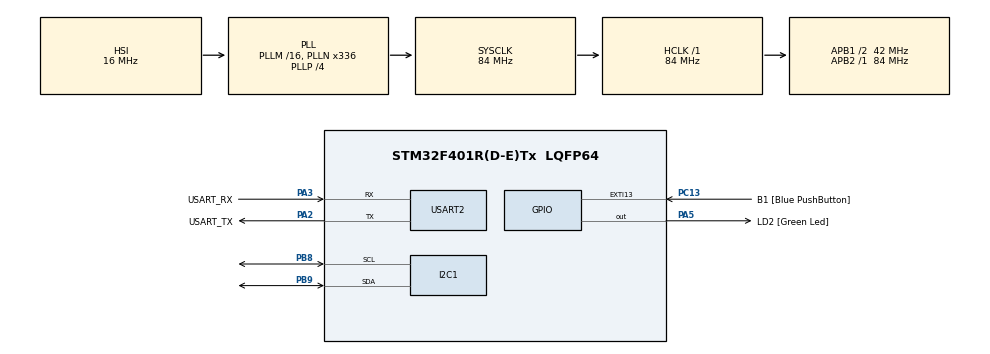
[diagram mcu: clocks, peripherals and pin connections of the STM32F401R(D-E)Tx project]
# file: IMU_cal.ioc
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Mcu.Family=STM32F4
Mcu.Name=STM32F401R(D-E)Tx
Mcu.Package=LQFP64
NVIC.PriorityGroup=NVIC_PRIORITYGROUP_0
PA13.GPIO_Label=TMS
PA13.Mode=Serial_Wire
PA13.Signal=SYS_JTMS-SWDIO
PA14.GPIO_Label=TCK
PA14.Mode=Serial_Wire
PA14.Signal=SYS_JTCK-SWCLK
PA2.GPIO_Label=USART_TX
PA2.GPIO_Mode=GPIO_MODE_AF_PP
PA2.GPIO_PuPd=GPIO_NOPULL
PA2.GPIO_Speed=GPIO_SPEED_FREQ_LOW
PA2.Mode=Asynchronous
PA2.Signal=USART2_TX
PA3.GPIO_Label=USART_RX
PA3.GPIO_Mode=GPIO_MODE_AF_PP
PA3.GPIO_PuPd=GPIO_NOPULL
PA3.GPIO_Speed=GPIO_SPEED_FREQ_LOW
PA3.Mode=Asynchronous
PA3.Signal=USART2_RX
PA5.GPIO_Label=LD2 [Green Led]
PA5.GPIO_Mode=GPIO_MODE_OUTPUT_PP
PA5.GPIO_PuPd=GPIO_NOPULL
PA5.GPIO_Speed=GPIO_SPEED_FREQ_LOW
PA5.Signal=GPIO_Output
PB3.GPIO_Label=SWO
PB3.Signal=SYS_JTDO-SWO
PB8.Mode=I2C
PB8.Signal=I2C1_SCL
PB9.Mode=I2C
PB9.Signal=I2C1_SDA
PC13-ANTI_TAMP.GPIO_Label=B1 [Blue PushButton]
PC13-ANTI_TAMP.GPIO_ModeDefaultEXTI=GPIO_MODE_IT_FALLING
PC13-ANTI_TAMP.GPIO_PuPd=GPIO_NOPULL
PC13-ANTI_TAMP.Signal=GPXTI13
PC14-OSC32_IN.Mode=LSE-External-Oscillator
PC14-OSC32_IN.Signal=RCC_OSC32_IN
PC15-OSC32_OUT.Mode=LSE-External-Oscillator
PC15-OSC32_OUT.Signal=RCC_OSC32_OUT
PH0\ -\ OSC_IN.Mode=HSE-External-Clock-Source
PH0\ -\ OSC_IN.Signal=RCC_OSC_IN
PH1\ -\ OSC_OUT.Mode=HSE-External-Clock-Source
PH1\ -\ OSC_OUT.Signal=RCC_OSC_OUT
ProjectManager.HeapSize=0x200
ProjectManager.StackSize=0x400
ProjectManager.TargetToolchain=STM32CubeIDE
RCC.48MHZClocksFreq_Value=48000000
RCC.AHBFreq_Value=84000000
RCC.APB1CLKDivider=RCC_HCLK_DIV2
RCC.APB1Freq_Value=42000000
RCC.APB1TimFreq_Value=84000000
RCC.APB2Freq_Value=84000000
RCC.APB2TimFreq_Value=84000000
RCC.CortexFreq_Value=84000000
RCC.HCLKFreq_Value=84000000
RCC.HSE_VALUE=8000000
RCC.HSI_VALUE=16000000
RCC.PLLN=336
RCC.PLLP=RCC_PLLP_DIV4
RCC.PLLQ=7
RCC.SYSCLKFreq_VALUE=84000000
RCC.SYSCLKSource=RCC_SYSCLKSOURCE_PLLCLK
RCC.VCOOutputFreq_Value=336000000
USART2.VirtualMode=VM_ASYNC
board=NUCLEO-F401RE

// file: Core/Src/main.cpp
/* USER CODE BEGIN Header */
/**
  ******************************************************************************
  * @file           : main.c
  * @brief          : Main program body
  ******************************************************************************
  * @attention
  *
  * Copyright (c) 2024 STMicroelectronics.
  * All rights reserved.
  *
  * This software is licensed under terms that can be found in the LICENSE file
  * in the root directory of this software component.
  * If no LICENSE file comes with this software, it is provided AS-IS.
  *
  ******************************************************************************
  */
/* USER CODE END Header */
#include "main.h"

/* USER CODE BEGIN Includes */
#include "MPU9250.h"
#include "UART.h"
#include <cstdio>
#include <stdio.h>
#include <string.h>
/* USER CODE END Includes */

/* USER CODE BEGIN PD */
#define MPU9250_ADDR 0x68;
#define ACCEL_XOUT_H 0;
#define GYRO_XOUT_H 0;
/* USER CODE END PD */

I2C_HandleTypeDef hi2c1;

UART_HandleTypeDef huart2;

void SystemClock_Config(void);
static void MX_GPIO_Init(void);
static void MX_USART2_UART_Init(void);
static void MX_I2C1_Init(void);

int main(void)
{

  /* USER CODE BEGIN 1 */
	MPU9250 mpu(&hi2c1); // Instantiate MPU9250 with the I2C handle
	mpu.initialize();

	// UART configuration
	UART tele(&huart2);
	uint8_t data[12];
	uint8_t buffer[64];  // Buffer for UART transmission

	uint8_t // Initialise IMU raw data variables.
	// Accelerometer
	ax_H, ax_L, // x-axis high and low bits
	ay_H, ay_L, // y-axis high and low bits
	az_H, az_L, // z-axis high and low bits
	// Gyroscope
	gx_H, gx_L, // x-axis high and low bits
	gy_H, gy_L, // y-axis high and low bits
	gz_H, gz_L; // z-axis high and low bits

	int16_t ax, ay, az;

  /* USER CODE END 1 */

  /* MCU Configuration--------------------------------------------------------*/

  /* Reset of all peripherals, Initializes the Flash interface and the Systick. */
  HAL_Init();

  /* Configure the system clock */
  SystemClock_Config();

  /* Initialize all configured peripherals */
  MX_GPIO_Init();
  MX_USART2_UART_Init();
  MX_I2C1_Init();

  /* Infinite loop */
  /* USER CODE BEGIN WHILE */
  while (1)
  {
	  // Read sensor data
	  mpu.read_raw_accelerometer(ax_H, ax_L, ay_H, ay_L, az_H, az_L);
	  mpu.read_raw_gyroscope(gx_H, gx_L, gy_H, gy_L, gz_H, gz_L);

	  /*
	  // Package data
	  data[0] = ax_H;
	  data[1] = ax_L;
	  data[2] = ay_H;
	  data[3] = ay_L;
	  data[4] = az_H;
	  data[5] = az_L;

	  data[6] = gx_H;
	  data[7] = gx_L;
	  data[8] = gy_H;
	  data[9] = gy_L;
	  data[10] = gz_H;
	  data[11] = gz_L;
	  */

	  // Transmit data
	  // 0x10 = store data
	  // 0x11 = task complete
	  //tele.sendMessage(0x10, data, 12);

	  // Combine high and low bytes into 16-bit signed integers
	  //int16_t ax = (int16_t)((ax_H << 8) | ax_L);
	  //int16_t ay = (int16_t)((ay_H << 8) | ay_L);
	  //int16_t az = (int16_t)((az_H << 8) | az_L);

	  mpu.readGyroscope(ax, ay, az);

	  // Format the data into a string
	  int len = snprintf((char *)buffer, sizeof(buffer), "ax=%d, ay=%d, az=%d\r\n", ax, ay, az);

	  // Transmit the data over UART
	  HAL_UART_Transmit(&huart2, buffer, len, HAL_MAX_DELAY);

	  // Delay for a while (e.g., 500 ms)
	  HAL_Delay(500);
    /* USER CODE END WHILE */

  }
}

void SystemClock_Config(void)
{
  RCC_OscInitTypeDef RCC_OscInitStruct = {0};
  RCC_ClkInitTypeDef RCC_ClkInitStruct = {0};

  /** Configure the main internal regulator output voltage
  */
  __HAL_RCC_PWR_CLK_ENABLE();
  __HAL_PWR_VOLTAGESCALING_CONFIG(PWR_REGULATOR_VOLTAGE_SCALE2);

  /** Initializes the RCC Oscillators according to the specified parameters
  * in the RCC_OscInitTypeDef structure.
  */
  RCC_OscInitStruct.OscillatorType = RCC_OSCILLATORTYPE_HSI;
  RCC_OscInitStruct.HSIState = RCC_HSI_ON;
  RCC_OscInitStruct.HSICalibrationValue = RCC_HSICALIBRATION_DEFAULT;
  RCC_OscInitStruct.PLL.PLLState = RCC_PLL_ON;
  RCC_OscInitStruct.PLL.PLLSource = RCC_PLLSOURCE_HSI;
  RCC_OscInitStruct.PLL.PLLM = 16;
  RCC_OscInitStruct.PLL.PLLN = 336;
  RCC_OscInitStruct.PLL.PLLP = RCC_PLLP_DIV4;
  RCC_OscInitStruct.PLL.PLLQ = 7;
  if (HAL_RCC_OscConfig(&RCC_OscInitStruct) != HAL_OK)
  {
    Error_Handler();
  }

  /** Initializes the CPU, AHB and APB buses clocks
  */
  RCC_ClkInitStruct.ClockType = RCC_CLOCKTYPE_HCLK|RCC_CLOCKTYPE_SYSCLK
                              |RCC_CLOCKTYPE_PCLK1|RCC_CLOCKTYPE_PCLK2;
  RCC_ClkInitStruct.SYSCLKSource = RCC_SYSCLKSOURCE_PLLCLK;
  RCC_ClkInitStruct.AHBCLKDivider = RCC_SYSCLK_DIV1;
  RCC_ClkInitStruct.APB1CLKDivider = RCC_HCLK_DIV2;
  RCC_ClkInitStruct.APB2CLKDivider = RCC_HCLK_DIV1;

  if (HAL_RCC_ClockConfig(&RCC_ClkInitStruct, FLASH_LATENCY_2) != HAL_OK)
  {
    Error_Handler();
  }
}

static void MX_I2C1_Init(void)
{

  hi2c1.Instance = I2C1;
  hi2c1.Init.ClockSpeed = 100000;
  hi2c1.Init.DutyCycle = I2C_DUTYCYCLE_2;
  hi2c1.Init.OwnAddress1 = 0;
  hi2c1.Init.AddressingMode = I2C_ADDRESSINGMODE_7BIT;
  hi2c1.Init.DualAddressMode = I2C_DUALADDRESS_DISABLE;
  hi2c1.Init.OwnAddress2 = 0;
  hi2c1.Init.GeneralCallMode = I2C_GENERALCALL_DISABLE;
  hi2c1.Init.NoStretchMode = I2C_NOSTRETCH_DISABLE;
  if (HAL_I2C_Init(&hi2c1) != HAL_OK)
  {
    Error_Handler();
  }

}

static void MX_USART2_UART_Init(void)
{

  huart2.Instance = USART2;
  huart2.Init.BaudRate = 115200;
  huart2.Init.WordLength = UART_WORDLENGTH_8B;
  huart2.Init.StopBits = UART_STOPBITS_1;
  huart2.Init.Parity = UART_PARITY_NONE;
  huart2.Init.Mode = UART_MODE_TX_RX;
  huart2.Init.HwFlowCtl = UART_HWCONTROL_NONE;
  huart2.Init.OverSampling = UART_OVERSAMPLING_16;
  if (HAL_UART_Init(&huart2) != HAL_OK)
  {
    Error_Handler();
  }

}

static void MX_GPIO_Init(void)
{
  GPIO_InitTypeDef GPIO_InitStruct = {0};

  /* GPIO Ports Clock Enable */
  __HAL_RCC_GPIOC_CLK_ENABLE();
  __HAL_RCC_GPIOH_CLK_ENABLE();
  __HAL_RCC_GPIOA_CLK_ENABLE();
  __HAL_RCC_GPIOB_CLK_ENABLE();

  /*Configure GPIO pin Output Level */
  HAL_GPIO_WritePin(LD2_GPIO_Port, LD2_Pin, GPIO_PIN_RESET);

  /*Configure GPIO pin : B1_Pin */
  GPIO_InitStruct.Pin = B1_Pin;
  GPIO_InitStruct.Mode = GPIO_MODE_IT_FALLING;
  GPIO_InitStruct.Pull = GPIO_NOPULL;
  HAL_GPIO_Init(B1_GPIO_Port, &GPIO_InitStruct);

  /*Configure GPIO pin : LD2_Pin */
  GPIO_InitStruct.Pin = LD2_Pin;
  GPIO_InitStruct.Mode = GPIO_MODE_OUTPUT_PP;
  GPIO_InitStruct.Pull = GPIO_NOPULL;
  GPIO_InitStruct.Speed = GPIO_SPEED_FREQ_LOW;
  HAL_GPIO_Init(LD2_GPIO_Port, &GPIO_InitStruct);

}

void Error_Handler(void)
{
  __disable_irq();
  while (1)
  {
  }
}
